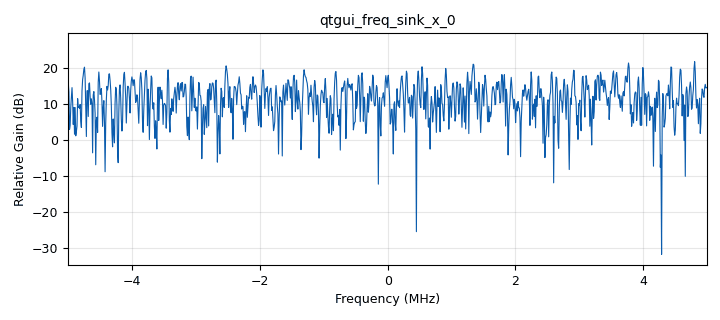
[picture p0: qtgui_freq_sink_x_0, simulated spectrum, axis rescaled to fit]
<?xml version='1.0' encoding='utf-8'?>
<?grc format='1' created='3.7.11'?>
<flow_graph>
<block>
<key>options</key>
<param><key>id</key><value>top_block</value></param>
<param><key>generate_options</key><value>qt_gui</value></param>
</block>
<block>
<key>variable</key>
<param><key>id</key><value>center_freq</value></param>
<param><key>value</key><value>freq_min+samp_rate/2</value></param>
</block>
<block>
<key>variable</key>
<param><key>id</key><value>freq_max</value></param>
<param><key>value</key><value>2490e6</value></param>
</block>
<block>
<key>variable</key>
<param><key>id</key><value>freq_min</value></param>
<param><key>value</key><value>2400e6</value></param>
</block>
<block>
<key>variable_qtgui_range</key>
<param><key>id</key><value>jammer_amp</value></param>
<param><key>value</key><value>50</value></param>
<param><key>orient</key><value>Qt.Horizontal</value></param>
<param><key>start</key><value>0</value></param>
<param><key>step</key><value>1</value></param>
<param><key>stop</key><value>100</value></param>
</block>
<block>
<key>variable</key>
<param><key>id</key><value>samp_rate</value></param>
<param><key>value</key><value>10e6</value></param>
</block>
<block>
<key>analog_noise_source_x</key>
<param><key>id</key><value>analog_noise_source_x_0</value></param>
<param><key>amp</key><value>jammer_amp</value></param>
<param><key>noise_type</key><value>analog.GR_GAUSSIAN</value></param>
<param><key>type</key><value>complex</value></param>
<param><key>seed</key><value>0</value></param>
</block>
<block>
<key>blocks_multiply_const_vxx</key>
<param><key>id</key><value>blocks_multiply_const_vxx_0</value></param>
<param><key>const</key><value>6</value></param>
<param><key>type</key><value>complex</value></param>
</block>
<block>
<key>blocks_throttle</key>
<param><key>id</key><value>blocks_throttle_0</value></param>
<param><key>samples_per_second</key><value>samp_rate</value></param>
<param><key>type</key><value>complex</value></param>
</block>
<block>
<key>osmosdr_sink</key>
<param><key>id</key><value>osmosdr_sink_0</value></param>
<param><key>bb_gain0</key><value>20</value></param>
<param><key>bw0</key><value>20e6</value></param>
<param><key>freq0</key><value>center_freq</value></param>
<param><key>if_gain0</key><value>47</value></param>
<param><key>gain0</key><value>0</value></param>
<param><key>args</key><value></value></param>
<param><key>type</key><value>fc32</value></param>
<param><key>sample_rate</key><value>samp_rate</value></param>
<param><key>sync</key><value></value></param>
</block>
<block>
<key>qtgui_freq_sink_x</key>
<param><key>id</key><value>qtgui_freq_sink_x_0</value></param>
<param><key>bw</key><value>samp_rate</value></param>
<param><key>fc</key><value>0</value></param>
<param><key>fftsize</key><value>1024</value></param>
<param><key>showports</key><value>True</value></param>
<param><key>type</key><value>complex</value></param>
<param><key>wintype</key><value>firdes.WIN_BLACKMAN_hARRIS</value></param>
</block>
<connection><source_block_id>analog_noise_source_x_0</source_block_id><sink_block_id>blocks_multiply_const_vxx_0</sink_block_id><source_key>0</source_key><sink_key>0</sink_key></connection>
<connection><source_block_id>blocks_multiply_const_vxx_0</source_block_id><sink_block_id>blocks_throttle_0</sink_block_id><source_key>0</source_key><sink_key>0</sink_key></connection>
<connection><source_block_id>blocks_throttle_0</source_block_id><sink_block_id>osmosdr_sink_0</sink_block_id><source_key>0</source_key><sink_key>0</sink_key></connection>
<connection><source_block_id>blocks_throttle_0</source_block_id><sink_block_id>qtgui_freq_sink_x_0</sink_block_id><source_key>0</source_key><sink_key>0</sink_key></connection>
</flow_graph>
